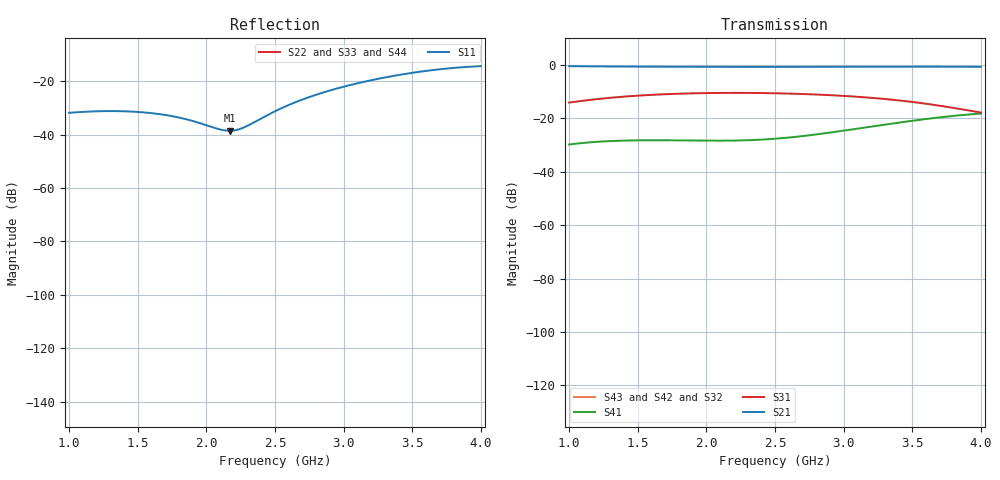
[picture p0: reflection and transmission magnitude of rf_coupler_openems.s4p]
! kicad2ems openEMS FDTD (rf_coupler); not computed (written as 0): S(P2,P2), S(P2,P3), S(P2,P4), S(P3,P2), S(P3,P3), S(P3,P4), S(P4,P2), S(P4,P3), S(P4,P4)
! ports: 1=P1, 2=P2, 3=P3, 4=P4
# Hz S RI R 50
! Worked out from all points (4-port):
!   301 points, 1 GHz to 4 GHz, reference 50 ohm
!   strongest paths, dB at 1 GHz, 1.75 GHz, 2.5 GHz, 3.25 GHz, 4 GHz:
!     S21: -0.5, -0.7, -0.7, -0.7, -0.7
!     S31: -14.1, -10.9, -10.6, -12.5, -17.8
!     S41: -29.8, -28.2, -27.7, -22.7, -18.2
!     S43: -, -, -, -, -
!     S42: -, -, -, -, -
!     S32: -, -, -, -, -
!   lowest |S11| = -38.6 dB at 2.17 GHz (marker M1), VSWR 1.02, Z = 48.9 - j0.254 ohm
!   |S11| at or under -10 dB: start of sweep to end of sweep
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1e9  0.0192 0.017  0.0613 -0.9443  0.197 0.00746  -0.0322 0.00288
     0.0613 -0.9443  0 0  0 0  0 0
     0.197 0.00746  0 0  0 0  0 0
     -0.0322 0.00288  0 0  0 0  0 0
1.65e9  0.0163 -0.0181  -0.7133 -0.5878  0.1743 -0.2177  -0.0124 0.0368
        -0.7133 -0.5878  0 0  0 0  0 0
        0.1743 -0.2177  0 0  0 0  0 0
        -0.0124 0.0368  0 0  0 0  0 0
2.17e9  -0.0115 -0.00259  -0.9158 0.0613  -0.0229 -0.2985  0.0106 0.0367
        -0.9158 0.0613  0 0  0 0  0 0
        -0.0229 -0.2985  0 0  0 0  0 0
        0.0106 0.0367  0 0  0 0  0 0
2.6e9  0.00579 0.0354  -0.706 0.5864  -0.1841 -0.2245  0.0254 0.0354
       -0.706 0.5864  0 0  0 0  0 0
       -0.1841 -0.2245  0 0  0 0  0 0
       0.0254 0.0354  0 0  0 0  0 0
3.13e9  0.0888 0.0342  -0.0906 0.9187  -0.2475 -0.0336  0.0602 0.0263
        -0.0906 0.9187  0 0  0 0  0 0
        -0.2475 -0.0336  0 0  0 0  0 0
        0.0602 0.0263  0 0  0 0  0 0
3.53e9  0.1403 -0.0447  0.442 0.8134  -0.1813 0.0795  0.0906 -0.0159
        0.442 0.8134  0 0  0 0  0 0
        -0.1813 0.0795  0 0  0 0  0 0
        0.0906 -0.0159  0 0  0 0  0 0
4e9  0.0844 -0.1716  0.8562 0.3361  -0.0774 0.1022  0.0643 -0.1043
     0.8562 0.3361  0 0  0 0  0 0
     -0.0774 0.1022  0 0  0 0  0 0
     0.0643 -0.1043  0 0  0 0  0 0
